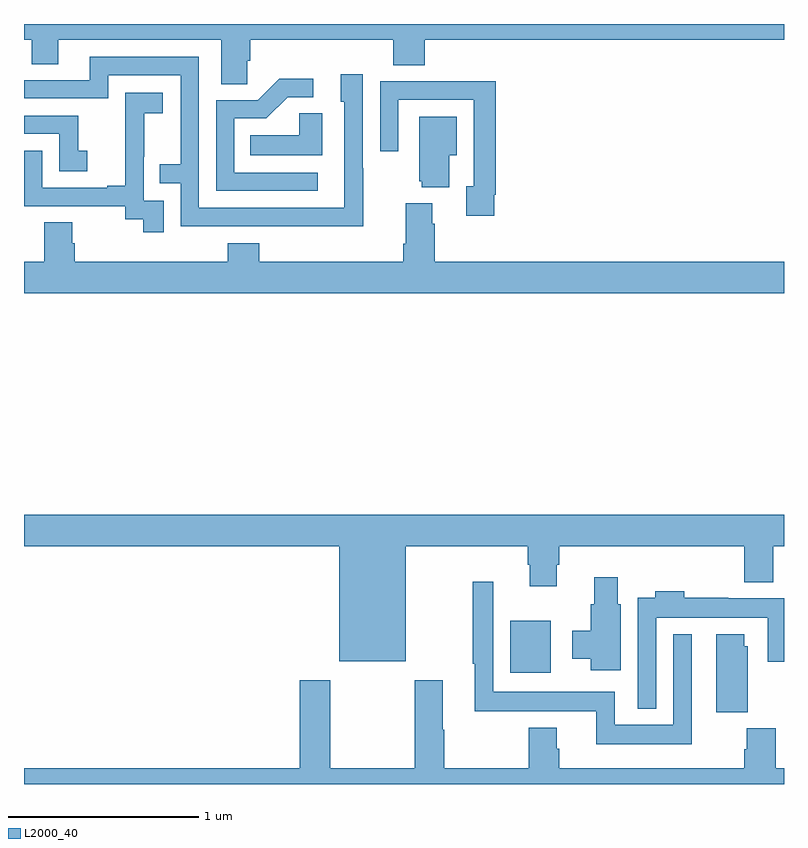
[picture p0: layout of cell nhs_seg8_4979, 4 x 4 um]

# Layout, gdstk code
import gdstk
lib = gdstk.Library(unit=1e-6, precision=1e-09)
def R(c, l, rs):  # rectangles x0, y0, x1, y1
    for r in rs: c.add(gdstk.rectangle(r[:2], r[2:], *l))
def P(c, l, *ps):  # polygons
    for p in ps: c.add(gdstk.Polygon(p, *l))
L2000_40 = (2000, 40)

nhs_seg8_4979 = lib.new_cell('nhs_seg8_4979')
R(nhs_seg8_4979, L2000_40, [(413.558,1130.486,413.773,1130.758)])
P(nhs_seg8_4979, L2000_40, [(412.176,1133.707),(412.19,1133.707),(412.19,1133.816),(412.943,1133.816),(412.943,1133.683),(413.108,1133.683),(413.108,1133.816),(415,1133.816),(415,1133.9),(411,1133.9),(411,1133.816),(411.042,1133.816),(411.042,1133.689),(411.181,1133.689),(411.181,1133.816),(412.037,1133.816),(412.037,1133.584),(412.176,1133.584)],
  [(412.785,1133.141),(412.782,1133.141),(412.782,1133.635),(412.667,1133.635),(412.667,1133.49),(412.686,1133.49),(412.686,1132.932),(411.921,1132.932),(411.921,1133.727),(411.347,1133.727),(411.347,1133.604),(411,1133.604),(411,1133.508),(411.444,1133.508),(411.444,1133.631),(411.825,1133.631),(411.825,1133.162),(411.715,1133.162),(411.715,1133.061),(411.825,1133.061),(411.825,1132.836),(412.321,1132.836),(412.321,1132.835),(412.785,1132.835)],
  [(412.546,1133.118),(412.107,1133.118),(412.107,1133.403),(412.276,1133.403),(412.387,1133.514),(412.522,1133.514),(412.522,1133.612),(412.343,1133.612),(412.23,1133.499),(412.011,1133.499),(412.011,1133.022),(412.546,1133.022)],
  [(413.476,1133.002),(413.483,1133.002),(413.483,1133.6),(413.191,1133.6),(413.191,1133.598),(412.875,1133.598),(412.875,1133.229),(412.971,1133.229),(412.971,1133.502),(413.367,1133.502),(413.367,1133.046),(413.327,1133.046),(413.327,1132.89),(413.476,1132.89)],
  [(411.735,1132.971),(411.63,1132.971),(411.63,1133.201),(411.632,1133.201),(411.632,1133.429),(411.73,1133.429),(411.73,1133.539),(411.532,1133.539),(411.532,1133.333),(411.533,1133.333),(411.533,1133.05),(411.437,1133.05),(411.437,1133.037),(411.096,1133.037),(411.096,1133.232),(411,1133.232),(411,1132.941),(411.534,1132.941),(411.534,1132.873),(411.627,1132.873),(411.627,1132.803),(411.735,1132.803)],
  [(412.57,1133.429),(412.449,1133.429),(412.449,1133.314),(412.192,1133.314),(412.192,1133.21),(412.57,1133.21)],
  [(411.334,1133.233),(411.285,1133.233),(411.285,1133.418),(411,1133.418),(411,1133.322),(411.186,1133.322),(411.186,1133.124),(411.334,1133.124)],
  [(413.239,1133.21),(413.278,1133.21),(413.278,1133.413),(413.081,1133.413),(413.081,1133.073),(413.093,1133.073),(413.093,1133.042),(413.239,1133.042)],
  [(415,1132.648),(413.162,1132.648),(413.162,1132.85),(413.149,1132.85),(413.149,1132.957),(413.009,1132.957),(413.009,1132.744),(412.997,1132.744),(412.997,1132.648),(412.238,1132.648),(412.238,1132.747),(412.073,1132.747),(412.073,1132.648),(411.266,1132.648),(411.266,1132.746),(411.253,1132.746),(411.253,1132.856),(411.106,1132.856),(411.106,1132.648),(411,1132.648),(411,1132.484),(415,1132.484)],
  [(413.008,1131.152),(413.651,1131.152),(413.651,1131.054),(413.663,1131.054),(413.663,1130.94),(413.803,1130.94),(413.803,1131.054),(413.816,1131.054),(413.816,1131.152),(414.791,1131.152),(414.791,1130.963),(414.943,1130.963),(414.943,1131.152),(415,1131.152),(415,1131.316),(411,1131.316),(411,1131.152),(412.658,1131.152),(412.658,1130.546),(413.008,1130.546)],
  [(414.142,1130.847),(414.124,1130.847),(414.124,1130.989),(414.002,1130.989),(414.002,1130.847),(413.984,1130.847),(413.984,1130.706),(413.885,1130.706),(413.885,1130.558),(413.984,1130.558),(413.984,1130.499),(414.142,1130.499)],
  [(414.514,1130.689),(414.417,1130.689),(414.417,1130.212),(414.108,1130.212),(414.108,1130.386),(413.469,1130.386),(413.469,1130.965),(413.361,1130.965),(413.361,1130.533),(413.372,1130.533),(413.372,1130.282),(414.011,1130.282),(414.011,1130.108),(414.514,1130.108)],
  [(414.327,1130.774),(414.915,1130.774),(414.915,1130.544),(415,1130.544),(415,1130.878),(414.707,1130.878),(414.707,1130.881),(414.476,1130.881),(414.476,1130.914),(414.323,1130.914),(414.323,1130.881),(414.231,1130.881),(414.231,1130.297),(414.327,1130.297)],
  [(414.808,1130.625),(414.79,1130.625),(414.79,1130.689),(414.644,1130.689),(414.644,1130.278),(414.808,1130.278)],
  [(415,1129.984),(414.956,1129.984),(414.956,1130.193),(414.803,1130.193),(414.803,1130.084),(414.791,1130.084),(414.791,1129.984),(413.816,1129.984),(413.816,1130.085),(413.803,1130.085),(413.803,1130.197),(413.656,1130.197),(413.656,1129.984),(413.211,1129.984),(413.211,1130.186),(413.203,1130.186),(413.203,1130.446),(413.056,1130.446),(413.056,1129.984),(412.611,1129.984),(412.611,1130.446),(412.451,1130.446),(412.451,1129.984),(411,1129.984),(411,1129.9),(415,1129.9)])

lib.write_gds('nhs_seg8_4979.gds')
